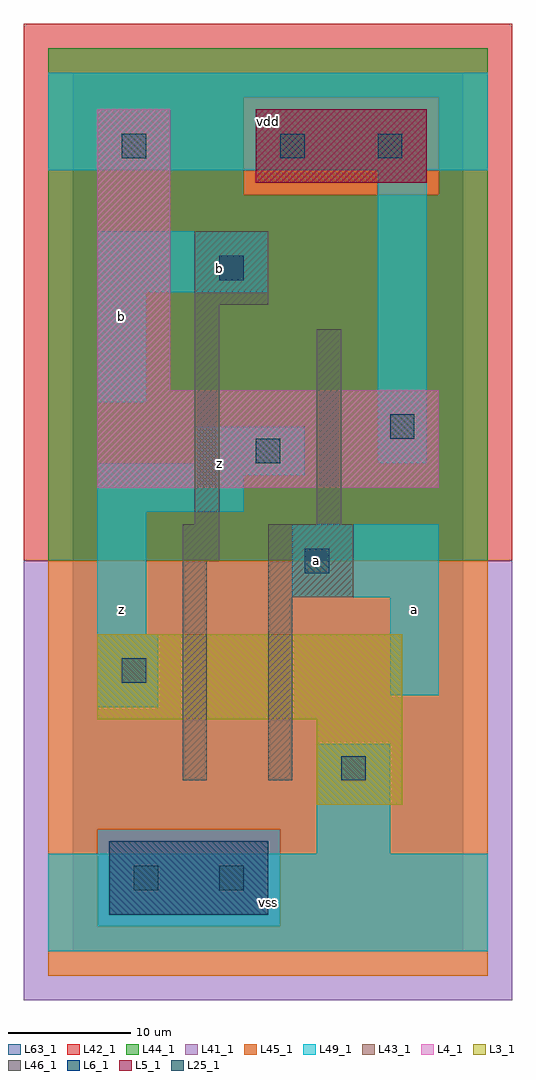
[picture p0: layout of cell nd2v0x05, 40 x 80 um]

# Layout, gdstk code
import gdstk
lib = gdstk.Library(unit=1e-6, precision=1e-09)
def R(c, l, rs):  # rectangles x0, y0, x1, y1
    for r in rs: c.add(gdstk.rectangle(r[:2], r[2:], *l))
L3_1 = (3, 1)
L4_1 = (4, 1)
L5_1 = (5, 1)
L6_1 = (6, 1)
L25_1 = (25, 1)
L41_1 = (41, 1)
L42_1 = (42, 1)
L43_1 = (43, 1)
L44_1 = (44, 1)
L45_1 = (45, 1)
L46_1 = (46, 1)
L49_1 = (49, 1)
L63_1 = (63, 1)

nd2v0x05 = lib.new_cell('nd2v0x05')
R(nd2v0x05, L3_1, [(20,12,27,19), (2,19,27,26)])
R(nd2v0x05, L4_1, [(2,38,30,46), (2,46,8,69)])
R(nd2v0x05, L5_1, [(15,63,29,69)])
R(nd2v0x05, L6_1, [(3,3,16,9), (3,3,16,9)])
R(nd2v0x05, L25_1, [(5,5,7,7), (12,5,14,7), (22,14,24,16), (4,22,6,24), (19,31,21,33), (15,40,17,42), (26,42,28,44), (12,55,14,57), (4,65,6,67), (17,65,19,67), (25,65,27,67)])
R(nd2v0x05, L41_1, [(-4,-4,36,32)])
R(nd2v0x05, L42_1, [(-4,32,36,76)])
R(nd2v0x05, L43_1, [(3,3,16,9), (20,12,27,19), (2,19,27,26), (2,38,30,46), (2,46,8,69), (15,63,29,69)])
R(nd2v0x05, L44_1, [(2,2,17,10), (-2,32,34,62), (-2,62,14,70), (30,62,34,70), (-2,70,34,74)])
R(nd2v0x05, L45_1, [(-2,-2,34,2), (-2,2,2,10), (17,2,34,10), (-2,10,34,32), (14,62,30,70)])
R(nd2v0x05, L46_1, [(9,14,11,32), (16,14,18,29), (16,29,23,35), (9,32,12,35), (10,35,12,53), (20,35,22,51), (10,53,16,59)])
R(nd2v0x05, L49_1, [(-2,0,34,8), (20,8,26,17), (2,20,7,26), (26,21,30,29), (2,26,6,36), (18,29,30,35), (2,36,14,39), (2,39,19,40), (10,40,19,43), (25,40,29,64), (2,45,6,54), (2,54,16,59), (-2,64,34,72)])
R(nd2v0x05, L63_1, [(0,0,32,72)])
nd2v0x05.add(gdstk.Label('z', (4,28), layer=49, texttype=1))
nd2v0x05.add(gdstk.Label('b', (4,52), layer=49, texttype=1))
nd2v0x05.add(gdstk.Label('z', (12,40), layer=49, texttype=1))
nd2v0x05.add(gdstk.Label('b', (12,56), layer=49, texttype=1))
nd2v0x05.add(gdstk.Label('vss', (16,4), layer=49, texttype=1))
nd2v0x05.add(gdstk.Label('a', (20,32), layer=49, texttype=1))
nd2v0x05.add(gdstk.Label('vdd', (16,68), layer=49, texttype=1))
nd2v0x05.add(gdstk.Label('a', (28,28), layer=49, texttype=1))

lib.write_gds('nd2v0x05.gds')
